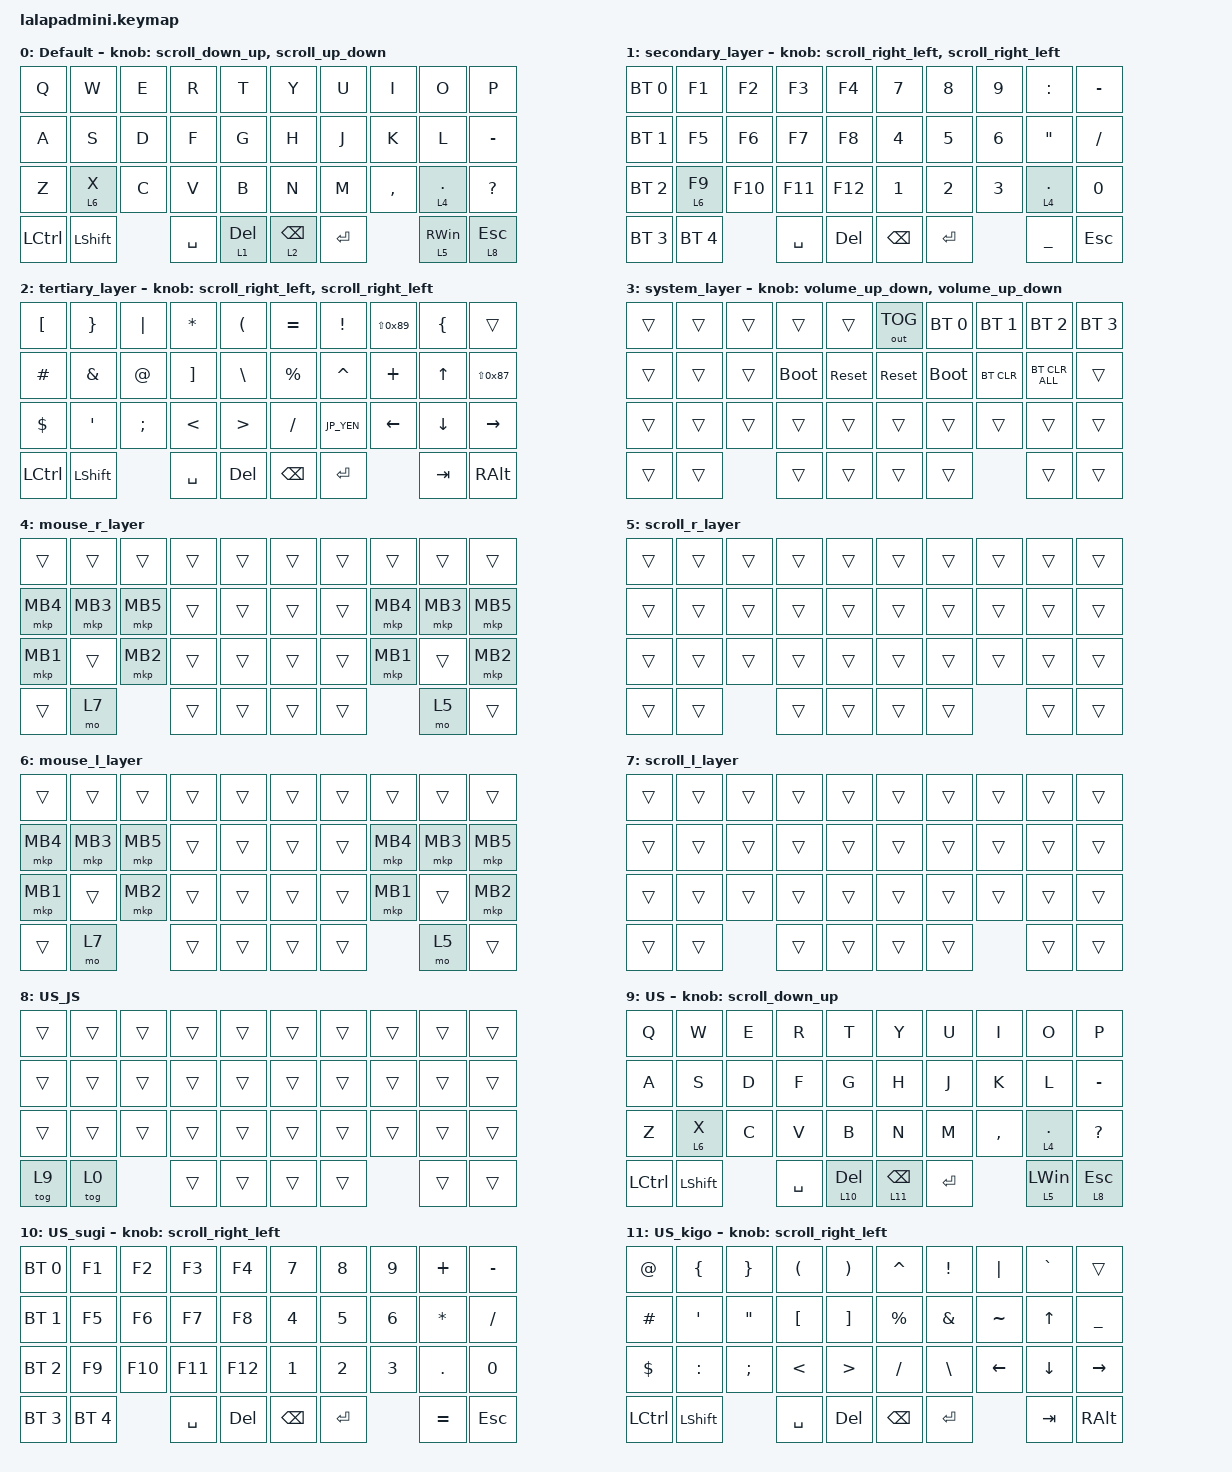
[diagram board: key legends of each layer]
#include <input/processors.dtsi>
#include <behaviors.dtsi>
#include <dt-bindings/zmk/bt.h>
#include <dt-bindings/zmk/keys.h>
#include <dt-bindings/zmk/outputs.h>
#include <dt-bindings/zmk/pointing.h>

#define DEFAULT_LAYER   0
#define SECONDARY_LAYER 1
#define TERTIARY_LAYER  2
#define SYSTEM_LAYER    3
#define MOUSE_R_LAYER   4
#define SCROLL_R_LAYER  5
#define MOUSE_L_LAYER   6
#define SCROLL_L_LAYER  7
#define US_JS           8
#define US              9
#define US_sugi         10
#define US_kigo         11

// OS設定を日本語キーボードのまま使用するための変換定義

#define JP_DQUOTE       AT                // "
#define JP_AMPERSAND    CARET             // &
#define JP_QUOTE        AMPERSAND         // '
#define JP_EQUAL        UNDER             // =
#define JP_CARET        EQUAL             // ^
#define JP_YEN          0x89              // ¥
#define JP_PLUS         COLON             // +
#define JP_TILDE        PLUS              // ~
#define JP_PIPE         LS(0x89)          // |
#define JP_AT           LEFT_BRACKET      // @
#define JP_COLON        SINGLE_QUOTE      // :
#define JP_ASTERISK     DOUBLE_QUOTES     // *
#define JP_BACKQUOTE    LEFT_BRACE        // `
#define JP_UNDERSCORE   LS(0x87)          // _
#define JP_LBRACKET     RIGHT_BRACKET     // [
#define JP_RBRACKET     BACKSLASH         // ]
#define JP_LPAREN       ASTERISK          // (
#define JP_RPAREN       LEFT_PARENTHESIS  // )
#define JP_LBRACE       RIGHT_BRACE       // {
#define JP_RBRACE       PIPE              // }
#define JP_KANA         LANGUAGE_1        // かな
#define JP_EISU         LANGUAGE_2        // 英数
#define JP_HANZEN       GRAVE             // 半角/全角

// Mouse Scroll Value

#define ZMK_POINTING_DEFAULT_SCRL_VAL 100

// cirque trackpad input&layer control

&glidepoint_listener_R {
    input-processors =
        <&zip_xy_transform (INPUT_TRANSFORM_XY_SWAP | INPUT_TRANSFORM_X_INVERT | INPUT_TRANSFORM_Y_INVERT)>,
        <&zip_xy_scaler 3 2>,
        <&zip_temp_layer MOUSE_R_LAYER 300>;

    lowspeedmode {
        layers = <SECONDARY_LAYER>;
        input-processors =
            <&zip_xy_transform (INPUT_TRANSFORM_XY_SWAP | INPUT_TRANSFORM_X_INVERT | INPUT_TRANSFORM_Y_INVERT)>,
            <&zip_xy_scaler 3 5>,
            <&zip_temp_layer MOUSE_R_LAYER 300>;
    };

    scroller {
        layers = <SCROLL_R_LAYER>;
        input-processors =
            <&zip_xy_to_scroll_mapper>,
            <&zip_scroll_transform (INPUT_TRANSFORM_XY_SWAP | INPUT_TRANSFORM_Y_INVERT)>,
            <&zip_scroll_scaler 1 8>;
    };
};

&glidepoint_listener_L {
    input-processors =
        <&zip_xy_transform (INPUT_TRANSFORM_XY_SWAP | INPUT_TRANSFORM_X_INVERT | INPUT_TRANSFORM_Y_INVERT)>,
        <&zip_xy_scaler 3 2>,
        <&zip_temp_layer SCROLL_L_LAYER 100>;

    //<&zip_temp_layer MOUSE_L_LAYER 300>;

    lowspeedmode {
        layers = <TERTIARY_LAYER>;
        input-processors =
            <&zip_xy_transform (INPUT_TRANSFORM_XY_SWAP | INPUT_TRANSFORM_X_INVERT | INPUT_TRANSFORM_Y_INVERT)>,
            <&zip_xy_scaler 3 4>,
            <&zip_temp_layer MOUSE_L_LAYER 300>;
    };

    scroller {
        layers = <SCROLL_L_LAYER>;
        input-processors =
            <&zip_xy_to_scroll_mapper>,
            <&zip_scroll_transform (INPUT_TRANSFORM_XY_SWAP | INPUT_TRANSFORM_Y_INVERT)>,
            <&zip_scroll_scaler 1 32>;
    };
};

&mt { quick-tap-ms = <200>; };

&lt { quick-tap-ms = <200>; };

/ {
    behaviors {
        // Encoder to Mouse Scroll

        scroll_up_down: behavior_sensor_rotate_mouse_wheel_up_down {
            compatible = "zmk,behavior-sensor-rotate";
            #sensor-binding-cells = <0>;
            bindings = <&msc SCRL_UP>, <&msc SCRL_DOWN>;

            tap-ms = <20>;
        };

        scroll_down_up: behavior_sensor_rotate_mouse_wheel_down_up {
            compatible = "zmk,behavior-sensor-rotate";
            #sensor-binding-cells = <0>;
            bindings = <&msc SCRL_DOWN>, <&msc SCRL_UP>;

            tap-ms = <20>;
        };

        scroll_left_right: behavior_sensor_rotate_mouse_wheel_left_right {
            compatible = "zmk,behavior-sensor-rotate";
            #sensor-binding-cells = <0>;
            bindings = <&msc SCRL_LEFT>, <&msc SCRL_RIGHT>;

            tap-ms = <20>;
        };

        scroll_right_left: behavior_sensor_rotate_mouse_wheel_right_left {
            compatible = "zmk,behavior-sensor-rotate";
            #sensor-binding-cells = <0>;
            bindings = <&msc SCRL_RIGHT>, <&msc SCRL_LEFT>;

            tap-ms = <20>;
        };

        volume_up_down: behavior_sensor_rotate_volume_up_down {
            compatible = "zmk,behavior-sensor-rotate";
            #sensor-binding-cells = <0>;
            bindings = <&kp C_VOLUME_UP>, <&kp C_VOLUME_DOWN>;

            tap-ms = <20>;
        };

        mt2: mod_tap2 {
            compatible = "zmk,behavior-hold-tap";
            #binding-cells = <2>;
            flavor = "tap-preferred";
            tapping-term-ms = <200>;
            quick-tap-ms = <200>;
            require-prior-idle-ms = <125>;
            bindings = <&kp>, <&kp>;
        };

        tap_dance_layer_1and2: tap_dance_layer_1and2 {
            compatible = "zmk,behavior-tap-dance";
            label = "td_mo12";
            #binding-cells = <0>;
            bindings = <&mo 1>, <&mo 2>;
        };
    };

    combos {
        compatible = "zmk,combos";

        COMBO_En {
            bindings = <&kp LANGUAGE_2>;
            key-positions = <32 33>;
        };

        COMBO_Jn {
            bindings = <&kp LANGUAGE_1>;
            key-positions = <34 35>;
        };

        COMBO_Tab {
            bindings = <&kp TAB>;
            key-positions = <23 24>;
        };

        COMBO_BC {
            bindings = <&bt BT_CLR>;
            key-positions = <22 24>;
        };

        COMBO_BCA {
            bindings = <&bt BT_CLR_ALL>;
            key-positions = <10 22 24>;
        };
    };

    macros {
        MACRO_LTAP: MACRO_LTAP {
            compatible = "zmk,behavior-macro";
            #binding-cells = <0>;
            bindings = <&mkp LCLK>;
            label = "MACRO_LTAP";
        };
    };

    keymap {
        compatible = "zmk,keymap";

        DEFAULT_LAYER {
            display-name = "Default";
            sensor-bindings = <&scroll_down_up>, <&scroll_up_down>;

            bindings = <
&kp Q      &kp W           &kp E  &kp R      &kp T         &kp Y            &kp U      &kp I      &kp O            &kp P
&kp A      &kp S           &kp D  &kp F      &kp G         &kp H            &kp J      &kp K      &kp L            &kp MINUS
&kp Z      &lt 6 X         &kp C  &kp V      &kp B         &kp N            &kp M      &kp COMMA  &lt 4 PERIOD     &kp QUESTION
&kp LCTRL  &kp LEFT_SHIFT         &kp SPACE  &lt 1 DELETE  &lt 2 BACKSPACE  &kp ENTER             &lt 5 RIGHT_WIN  &lt 8 ESCAPE
            >;
        };

        SECONDARY_LAYER {
            display-name = "secondary_layer";
            sensor-bindings = <&scroll_right_left>, <&scroll_right_left>;

            bindings = <
&bt BT_SEL 0  &kp F1        &kp F2   &kp F3     &kp F4      &kp N7         &kp N8        &kp N9        &kp JP_PLUS      &kp MINUS
&bt BT_SEL 1  &kp F5        &kp F6   &kp F7     &kp F8      &kp NUMBER_4   &kp N5        &kp NUMBER_6  &kp JP_ASTERISK  &kp SLASH
&bt BT_SEL 2  &lt 6 F9      &kp F10  &kp F11    &kp F12     &kp NUMBER_1   &kp NUMBER_2  &kp NUMBER_3  &lt 4 PERIOD     &kp N0
&bt BT_SEL 3  &bt BT_SEL 4           &kp SPACE  &kp DELETE  &kp BACKSPACE  &kp ENTER                   &kp JP_EQUAL     &kp ESCAPE
            >;
        };

        TERTIARY_LAYER {
            display-name = "tertiary_layer";
            bindings = <
&kp JP_AT   &kp JP_LBRACE   &kp JP_RBRACE  &kp JP_LPAREN    &kp JP_RPAREN     &kp JP_CARET   &kp EXCLAMATION   &kp JP_PIPE     &kp JP_BACKQUOTE  &trans
&kp HASH    &kp JP_QUOTE    &kp JP_DQUOTE  &kp JP_LBRACKET  &kp JP_RBRACKET   &kp PERCENT    &kp JP_AMPERSAND  &kp JP_TILDE    &kp UP_ARROW      &kp JP_UNDERSCORE
&kp DOLLAR  &kp JP_COLON    &kp SEMICOLON  &kp LESS_THAN    &kp GREATER_THAN  &kp SLASH      &kp JP_YEN        &kp LEFT_ARROW  &kp DOWN_ARROW    &kp RIGHT_ARROW
&kp LCTRL   &kp LEFT_SHIFT                 &kp SPACE        &kp DELETE        &kp BACKSPACE  &kp ENTER                         &kp TAB           &kp RIGHT_ALT
            >;

            sensor-bindings = <&scroll_right_left>, <&scroll_right_left>;
        };

        SYSTEM_LAYER {
            display-name = "system_layer";
            sensor-bindings = <&volume_up_down>, <&volume_up_down>;

            bindings = <
&trans  &trans  &trans  &trans       &trans      &out OUT_TOG  &bt BT_SEL 0  &bt BT_SEL 1  &bt BT_SEL 2    &bt BT_SEL 3
&trans  &trans  &trans  &bootloader  &sys_reset  &sys_reset    &bootloader   &bt BT_CLR    &bt BT_CLR_ALL  &trans
&trans  &trans  &trans  &trans       &trans      &trans        &trans        &trans        &trans          &trans
&trans  &trans          &trans       &trans      &trans        &trans                      &trans          &trans
            >;
        };

        MOUSE_R_LAYER {
            display-name = "mouse_r_layer";
            bindings = <
&trans    &trans    &trans    &trans  &trans  &trans  &trans  &trans    &trans    &trans
&mkp MB4  &mkp MB3  &mkp MB5  &trans  &trans  &trans  &trans  &mkp MB4  &mkp MB3  &mkp MB5
&mkp MB1  &trans    &mkp MB2  &trans  &trans  &trans  &trans  &mkp MB1  &trans    &mkp MB2
&trans    &mo 7               &trans  &trans  &trans  &trans            &mo 5     &trans
            >;
        };

        SCROLL_R_LAYER {
            display-name = "scroll_r_layer";
            bindings = <
&trans  &trans  &trans  &trans  &trans  &trans  &trans  &trans  &trans  &trans
&trans  &trans  &trans  &trans  &trans  &trans  &trans  &trans  &trans  &trans
&trans  &trans  &trans  &trans  &trans  &trans  &trans  &trans  &trans  &trans
&trans  &trans          &trans  &trans  &trans  &trans          &trans  &trans
            >;
        };

        MOUSE_L_LAYER {
            display-name = "mouse_l_layer";
            bindings = <
&trans    &trans    &trans    &trans  &trans  &trans  &trans  &trans    &trans    &trans
&mkp MB4  &mkp MB3  &mkp MB5  &trans  &trans  &trans  &trans  &mkp MB4  &mkp MB3  &mkp MB5
&mkp MB1  &trans    &mkp MB2  &trans  &trans  &trans  &trans  &mkp MB1  &trans    &mkp MB2
&trans    &mo 7               &trans  &trans  &trans  &trans            &mo 5     &trans
            >;
        };

        SCROLL_L_LAYER {
            display-name = "scroll_l_layer";
            bindings = <
&trans  &trans  &trans  &trans  &trans  &trans  &trans  &trans  &trans  &trans
&trans  &trans  &trans  &trans  &trans  &trans  &trans  &trans  &trans  &trans
&trans  &trans  &trans  &trans  &trans  &trans  &trans  &trans  &trans  &trans
&trans  &trans          &trans  &trans  &trans  &trans          &trans  &trans
            >;
        };

        US_JS {
            bindings = <
&trans  &trans  &trans  &trans  &trans  &trans  &trans  &trans  &trans  &trans
&trans  &trans  &trans  &trans  &trans  &trans  &trans  &trans  &trans  &trans
&trans  &trans  &trans  &trans  &trans  &trans  &trans  &trans  &trans  &trans
&tog 9  &tog 0          &trans  &trans  &trans  &trans          &trans  &trans
            >;
        };

        US {
            bindings = <
&kp Q      &kp W      &kp E  &kp R      &kp T          &kp Y             &kp U    &kp I      &kp O           &kp P
&kp A      &kp S      &kp D  &kp F      &kp G          &kp H             &kp J    &kp K      &kp L           &kp MINUS
&kp Z      &lt 6 X    &kp C  &kp V      &kp B          &kp N             &kp M    &kp COMMA  &lt 4 PERIOD    &kp QUESTION
&kp LCTRL  &kp LSHFT         &kp SPACE  &lt 10 DELETE  &lt 11 BACKSPACE  &kp RET             &lt 5 LEFT_WIN  &lt 8 ESCAPE
            >;

            sensor-bindings = <&scroll_down_up>;
        };

        US_sugi {
            bindings = <
&bt BT_SEL 0  &kp F1        &kp F2   &kp F3     &kp F4   &kp N7         &kp N8     &kp N9  &kp PLUS      &kp MINUS
&bt BT_SEL 1  &kp F5        &kp F6   &kp F7     &kp F8   &kp N4         &kp N5     &kp N6  &kp ASTERISK  &kp SLASH
&bt BT_SEL 2  &kp F9        &kp F10  &kp F11    &kp F12  &kp N1         &kp N2     &kp N3  &kp DOT       &kp N0
&bt BT_SEL 3  &bt BT_SEL 4           &kp SPACE  &kp DEL  &kp BACKSPACE  &kp ENTER          &kp EQUAL     &kp ESCAPE
            >;

            sensor-bindings = <&scroll_right_left>;
        };

        US_kigo {
            bindings = <
&kp AT_SIGN  &kp LEFT_BRACE  &kp RIGHT_BRACE    &kp LEFT_PARENTHESIS  &kp RIGHT_PARENTHESIS  &kp CARET      &kp EXCLAMATION  &kp PIPE        &kp GRAVE       &trans
&kp HASH     &kp SQT         &kp DOUBLE_QUOTES  &kp LEFT_BRACKET      &kp RIGHT_BRACKET      &kp PERCENT    &kp AMPERSAND    &kp TILDE       &kp UP_ARROW    &kp UNDERSCORE
&kp DOLLAR   &kp COLON       &kp SEMICOLON      &kp LESS_THAN         &kp GREATER_THAN       &kp SLASH      &kp BSLH         &kp LEFT_ARROW  &kp DOWN_ARROW  &kp RIGHT
&kp LCTRL    &kp LEFT_SHIFT                     &kp SPACE             &kp DELETE             &kp BACKSPACE  &kp ENTER                        &kp TAB         &kp RIGHT_ALT
            >;

            sensor-bindings = <&scroll_right_left>;
        };
    };

    conditional_layers {
        compatible = "zmk,conditional-layers";

        System_layer {
            if-layers = <1 2>;
            then-layer = <3>;
        };
    };
};
